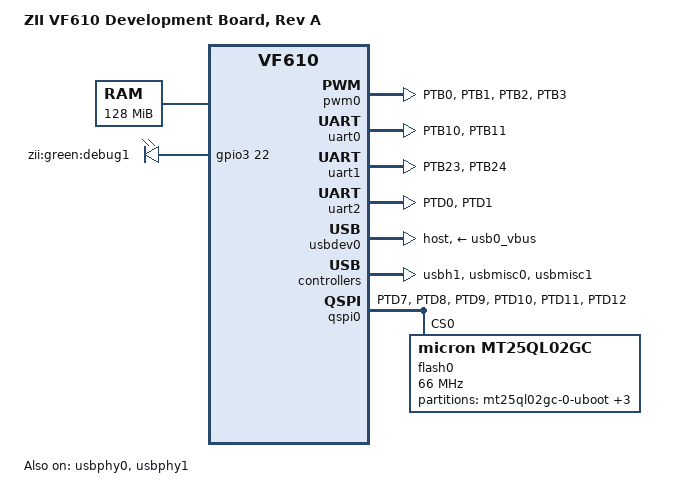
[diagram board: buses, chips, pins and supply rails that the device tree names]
/*
 * Copyright 2013 Freescale Semiconductor, Inc.
 *
 * This program is free software; you can redistribute it and/or modify
 * it under the terms of the GNU General Public License as published by
 * the Free Software Foundation; either version 2 of the License, or
 * (at your option) any later version.
 */

/dts-v1/;
#include "vf610-zii-dev.dtsi"

/ {
	model = "ZII VF610 Development Board, Rev A";
	compatible = "zii,vf610dev-a", "zii,vf610dev", "fsl,vf610";

	chosen {
		bootargs = "console=ttyLP0,115200n8";
		stdout-path = &uart0;
	};

	memory {
		reg = <0x80000000 0x8000000>;
	};

	gpio-leds {
		compatible = "gpio-leds";
		pinctrl-0 = <&pinctrl_leds_debug>;
		pinctrl-names = "default";

		debug_1 {
			label = "zii:green:debug1";
			gpios = <&gpio3 22 GPIO_ACTIVE_HIGH>;
		};
	};

	dsa@0 {
		compatible = "marvell,dsa";
		#address-cells = <2>;
		#size-cells = <0>;

		dsa,ethernet = <&fec1>;
		dsa,mii-bus = <&mdio1>;

		/* 6352 - Primary - 7 ports */
		switch0: switch@2 {
			#address-cells = <1>;
			#size-cells = <0>;
			reg = <0x02 0>;
			eeprom-length = <512>;

			port@0 {
				reg = <0>;
				label = "lan0";
			};

			port@1 {
				reg = <1>;
				label = "lan1";
			};

			port@2 {
				reg = <2>;
				label = "lan2";
			};

			port@3 {
				reg = <3>;
				label = "lan3";
			};

			port@4 {
				reg = <4>;
				label = "lan4";
			};

			switch0port5: port@5 {
				reg = <5>;
				label = "dsa";
				phy-mode = "rgmii-txid";
				link = <&switch1port6
					&switch2port9>;
				fixed-link {
					speed = <1000>;
					full-duplex;
				};
			};

			port@6 {
				reg = <6>;
				label = "cpu";
				fixed-link {
					speed = <100>;
					full-duplex;
				};
			};

		};

		/* 6352 - Secondary - 7 ports */
		switch1: switch@0 {
			#address-cells = <1>;
			#size-cells = <0>;
			reg = <0x04 1>;
			eeprom-length = <512>;

			port@0 {
				reg = <0>;
				label = "lan5";
			};

			port@1 {
				reg = <1>;
				label = "lan6";
			};

			port@2 {
				reg = <2>;
				label = "lan7";
			};

			port@3 {
				reg = <3>;
				label = "lan8";
			};

			switch1port4: port@4 {
				reg = <4>;
				label = "dsa";
				link = <&switch2port9>;
			};

			switch1port6: port@6 {
				reg = <6>;
				label = "dsa";
				phy-mode = "rgmii-txid";
				link = <&switch0port5>;
				fixed-link {
					speed = <1000>;
					full-duplex;
				};
			};
		};

		/* 6185 - 10 ports */
		switch2: switch@6 {
			#address-cells = <1>;
			#size-cells = <0>;
			reg = <0x06 2>;

			port@1 {
				reg = <1>;
				label = "optical3";
				fixed-link {
					speed = <1000>;
					full-duplex;
				};
			};

			port@2 {
				reg = <2>;
				label = "optical4";
				fixed-link {
					speed = <1000>;
					full-duplex;
				};
			};

			switch2port9: port@9 {
				reg = <9>;
				label = "dsa";
				link = <&switch1port4
					&switch0port5>;
			};
		};
	};
};

&iomuxc {
	pinctrl-names = "default";
	pinctrl-0 = <&pinctrl_i2c_mux_reset>;

	vf610-zii {
		pinctrl_leds_debug: pinctrl-leds-debug {
			fsl,pins = <
				 VF610_PAD_PTE13__GPIO_118	0x31c2
				 >;
		};

		pinctrl_i2c_mux_reset: pinctrl-i2c-mux-reset {
			fsl,pins = <
				 VF610_PAD_PTE14__GPIO_119	0x31c2
				 >;
		};

		pinctrl_adc0_ad5: adc0ad5grp {
			fsl,pins = <
				VF610_PAD_PTC30__ADC0_SE5		0xa1
			>;
		};

		pinctrl_esdhc1: esdhc1grp {
			fsl,pins = <
				VF610_PAD_PTA24__ESDHC1_CLK	0x31ef
				VF610_PAD_PTA25__ESDHC1_CMD	0x31ef
				VF610_PAD_PTA26__ESDHC1_DAT0	0x31ef
				VF610_PAD_PTA27__ESDHC1_DAT1	0x31ef
				VF610_PAD_PTA28__ESDHC1_DATA2	0x31ef
				VF610_PAD_PTA29__ESDHC1_DAT3	0x31ef
				VF610_PAD_PTA7__GPIO_134	0x219d
			>;
		};

		pinctrl_fec1: fec1grp {
			fsl,pins = <
				VF610_PAD_PTA6__RMII_CLKIN		0x30d1
				VF610_PAD_PTC9__ENET_RMII1_MDC		0x30d2
				VF610_PAD_PTC10__ENET_RMII1_MDIO	0x30d3
				VF610_PAD_PTC11__ENET_RMII1_CRS		0x30d1
				VF610_PAD_PTC12__ENET_RMII1_RXD1	0x30d1
				VF610_PAD_PTC13__ENET_RMII1_RXD0	0x30d1
				VF610_PAD_PTC14__ENET_RMII1_RXER	0x30d1
				VF610_PAD_PTC15__ENET_RMII1_TXD1	0x30d2
				VF610_PAD_PTC16__ENET_RMII1_TXD0	0x30d2
				VF610_PAD_PTC17__ENET_RMII1_TXEN	0x30d2
			>;
		};

		/* -------------------------------------------------------------
		 * speed:		  high (200 MHz)
		 * slew rate:		  slow
		 * open drain:		  enabled
		 * hysteresis:		  Schmitt trigger
		 * drive strength:	  20 Ohm
		 * pull strength:	  22 kOhm pull-up
		 * pull / keeper:	  enabled
		 * pull / keeper select:  pull
		 * output buffer:	  enabled
		 * input buffer:	  enabled
		 */
		pinctrl_i2c0: i2c0grp {
			fsl,pins = <
				VF610_PAD_PTB14__I2C0_SCL		0x37ff
				VF610_PAD_PTB15__I2C0_SDA		0x37ff
			>;
		};

		pinctrl_i2c1: i2c1grp {
			fsl,pins = <
				VF610_PAD_PTB16__I2C1_SCL		0x37ff
				VF610_PAD_PTB17__I2C1_SDA		0x37ff
			>;
		};

		pinctrl_i2c2: i2c2grp {
			fsl,pins = <
				VF610_PAD_PTA22__I2C2_SCL		0x37ff
				VF610_PAD_PTA23__I2C2_SDA		0x37ff
			>;
		};

		pinctrl_i2c3: i2c3grp {
			fsl,pins = <
				VF610_PAD_PTA30__I2C3_SCL		0x37ff
				VF610_PAD_PTA31__I2C3_SDA		0x37ff
			>;
		};

		pinctrl_pwm0: pwm0grp {
			fsl,pins = <
				VF610_PAD_PTB0__FTM0_CH0		0x1582
				VF610_PAD_PTB1__FTM0_CH1		0x1582
				VF610_PAD_PTB2__FTM0_CH2		0x1582
				VF610_PAD_PTB3__FTM0_CH3		0x1582
			>;
		};

		pinctrl_uart0: uart0grp {
			fsl,pins = <
				VF610_PAD_PTB10__UART0_TX		0x21a2
				VF610_PAD_PTB11__UART0_RX		0x21a1
			>;
		};

		pinctrl_uart1: uart1grp {
			fsl,pins = <
				VF610_PAD_PTB23__UART1_TX		0x21a2
				VF610_PAD_PTB24__UART1_RX		0x21a1
			>;
		};

		pinctrl_uart2: uart2grp {
			fsl,pins = <
				VF610_PAD_PTD0__UART2_TX		0x21a2
				VF610_PAD_PTD1__UART2_RX		0x21a1
			>;
		};

		pinctrl_qspi0: qspi0grp {
			fsl,pins = <
				VF610_PAD_PTD7__QSPI0_B_QSCK		0x31c3
				VF610_PAD_PTD8__QSPI0_B_CS0		0x31ff
				VF610_PAD_PTD9__QSPI0_B_DATA3		0x31c3
				VF610_PAD_PTD10__QSPI0_B_DATA2		0x31c3
				VF610_PAD_PTD11__QSPI0_B_DATA1		0x31c3
				VF610_PAD_PTD12__QSPI0_B_DATA0		0x31c3
			>;
		};

		pinctrl_usb0_host: usb0-host-grp {
			fsl,pins = <
				VF610_PAD_PTD6__GPIO_85			0x62
			>;
		};
	};
};

&L2 {
	arm,data-latency = <2 1 2>;
	arm,tag-latency = <3 2 3>;
};

&pwm0 {
	pinctrl-names = "default";
	pinctrl-0 = <&pinctrl_pwm0>;
	status = "okay";
};

&uart0 {
	pinctrl-names = "default";
	pinctrl-0 = <&pinctrl_uart0>;
	status = "okay";
};

&uart1 {
	pinctrl-names = "default";
	pinctrl-0 = <&pinctrl_uart1>;
	status = "okay";
};

&uart2 {
	pinctrl-names = "default";
	pinctrl-0 = <&pinctrl_uart2>;
	status = "okay";
};

&usbdev0 {
	disable-over-current;
	status = "okay";
	vbus-supply = <&usb0_vbus>;
	dr_mode = "host";
};

&usbh1 {
	disable-over-current;
	status = "okay";
};

&usbmisc0 {
	status = "okay";
};

&usbmisc1 {
	status = "okay";
};

&usbphy0 {
	status = "okay";
};

&usbphy1 {
	status = "okay";
};

&qspi0 {
	pinctrl-names = "default";
	pinctrl-0 = <&pinctrl_qspi0>;
	fsl,nor-size = <0x10000000>;
	fsl,spi-num-chipselects = <2>;
	status = "okay";

	flash0: mt25ql02gc@0 {
		#address-cells = <1>;
		#size-cells = <1>;
		compatible = "micron,mt25ql02gc";
		spi-max-frequency = <66000000>;
		reg = <0>;

		partition@0 {
			label = "mt25ql02gc-0-uboot";
			reg = <0x0 0x0100000>;
		};

		partition2@100000 {
			label = "mt25ql02gc-0-dtb";
			reg = <0x0100000 0x0100000>;
		};

		partition3@200000 {
			label = "mt25ql02gc-0-kernel";
			reg = <0x0200000 0x0500000>;
		};

		partition4@700000 {
			label = "mt25ql02gc-0-rfs";
			reg = <0x0600000 0x8000000>;
		};
	};
};
